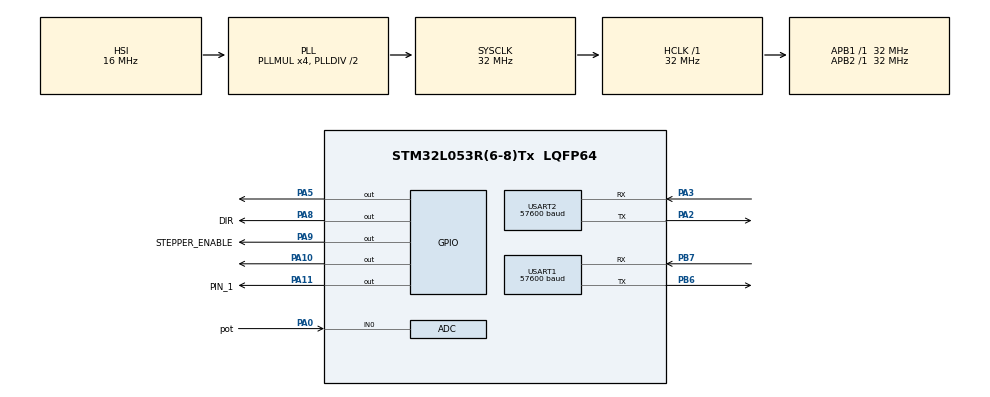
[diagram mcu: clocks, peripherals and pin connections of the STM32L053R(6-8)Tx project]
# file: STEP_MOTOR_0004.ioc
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ADC.ContinuousConvMode=ENABLE
ADC.Resolution=ADC_RESOLUTION_8B
ADC.SamplingTime=ADC_SAMPLETIME_39CYCLES_5
Mcu.Family=STM32L0
Mcu.Name=STM32L053R(6-8)Tx
Mcu.Package=LQFP64
NVIC.ADC1_COMP_IRQn=true\:0\:0\:false\:false\:true\:true\:true
NVIC.RCC_CRS_IRQn=true\:0\:0\:false\:false\:true\:true\:false
NVIC.TIM2_IRQn=true\:0\:0\:false\:false\:true\:true\:true
NVIC.USART1_IRQn=true\:0\:0\:false\:false\:true\:true\:true
NVIC.USART2_IRQn=true\:0\:0\:false\:false\:true\:true\:true
PA0.GPIO_Label=pot
PA0.Mode=IN0
PA0.Signal=ADC_IN0
PA10.Signal=GPIO_Output
PA11.GPIO_Label=PIN_1
PA11.GPIO_ModeDefaultOutputPP=GPIO_MODE_OUTPUT_PP
PA11.GPIO_PuPd=GPIO_PULLUP
PA11.GPIO_Speed=GPIO_SPEED_FREQ_VERY_HIGH
PA11.Signal=GPIO_Output
PA13.Mode=Serial_Wire
PA13.Signal=SYS_SWDIO
PA14.Mode=Serial_Wire
PA14.Signal=SYS_SWCLK
PA2.Mode=Asynchronous
PA2.Signal=USART2_TX
PA3.Mode=Asynchronous
PA3.Signal=USART2_RX
PA5.Signal=GPIO_Output
PA8.GPIO_Label=DIR
PA8.Signal=GPIO_Output
PA9.GPIO_Label=STEPPER_ENABLE
PA9.Signal=GPIO_Output
PB6.Mode=Asynchronous
PB6.Signal=USART1_TX
PB7.Mode=Asynchronous
PB7.Signal=USART1_RX
PH0-OSC_IN.Mode=HSE-External-Oscillator
PH0-OSC_IN.Signal=RCC_OSC_IN
PH1-OSC_OUT.Mode=HSE-External-Oscillator
PH1-OSC_OUT.Signal=RCC_OSC_OUT
ProjectManager.HeapSize=0x200
ProjectManager.StackSize=0x400
ProjectManager.TargetToolchain=TrueSTUDIO
RCC.AHBFreq_Value=32000000
RCC.APB1Freq_Value=32000000
RCC.APB1TimFreq_Value=32000000
RCC.APB2Freq_Value=32000000
RCC.APB2TimFreq_Value=32000000
RCC.HCLKFreq_Value=32000000
RCC.HSE_VALUE=8000000
RCC.HSI16_VALUE=16000000
RCC.HSI48_VALUE=48000000
RCC.HSI_VALUE=16000000
RCC.LSE_VALUE=32768
RCC.MSI_VALUE=2097000
RCC.PLLMUL=RCC_PLLMUL_4
RCC.SYSCLKFreq_VALUE=32000000
RCC.SYSCLKSource=RCC_SYSCLKSOURCE_PLLCLK
RCC.VCOOutputFreq_Value=64000000
TIM2.Period=399
TIM2.Prescaler=19
TIM2.TIM_MasterOutputTrigger=TIM_TRGO_UPDATE
USART1.BaudRate=57600
USART1.VirtualMode-Asynchronous=VM_ASYNC
USART2.BaudRate=57600
USART2.VirtualMode-Asynchronous=VM_ASYNC
VP_RTC_VS_RTC_Activate.Mode=RTC_Enabled
VP_TIM2_VS_ClockSourceINT.Mode=Internal
board=custom

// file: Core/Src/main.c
/* USER CODE BEGIN Header */
/**
  ******************************************************************************
  * @file           : main.c
  *
  *
  * @brief          : Main program body
  ******************************************************************************
  * @attention
  *
  * <h2><center>&copy; Copyright (c) 2021 STMicroelectronics.
  * All rights reserved.</center></h2>
  *
  * This software component is licensed by ST under BSD 3-Clause license,
  * the "License"; You may not use this file except in compliance with the
  * License. You may obtain a copy of the License at:
  *                        opensource.org/licenses/BSD-3-Clause
  *
  ******************************************************************************
  */
/* USER CODE END Header */
#include "main.h"

/* USER CODE BEGIN PTD */
/* USER CODE BEGIN PTD */
uint32_t pres;
uint32_t count;int duty_cycle = 0,GL_timer_1ms_flag=0,x=1,pulse_sayisi=0,tur_sayisi=0,Start_flag=0;
uint32_t i=0,sayi=0;
int baslangic_sure=0;
//int tur1,tur2,tur3,tur4;
int sayac=0;
int tur_sayisi_flag=0,Gl_step_degeri=800,GL_frekans_degeri;
uint8_t yon=0;

int saniye=1;
uint8_t  GL_timer_enable_flag = 0x01;

//**********uart degiskenleri**********
uint8_t myTxData[16]=";0000000000000\r\n";

//uint8_t myRxData[]="gelen_veri\r\n";

uint8_t myRxData[16]="eeeeeeeeeeeeeLee";

uint8_t paket_icindeki_data_arrayi[12]={59,59,59,59,59,59,59,59,59,59};

uint8_t myTx_sayac=0,myRx_sayac=0;
uint8_t rx_flag=0;
uint8_t Gl_step[5],Gl_tur[5],Gl_saniye[5],Gl_frekans[5];
uint8_t Gl_basla_flag=0,Gl_bekle_flag=0;
uint8_t Gl_sag_flag,Gl_sol_flag,Gl_adim_dondurme_flag;
uint8_t sag_flag=0;
uint8_t sol_flag=0;
uint8_t tam_flag=0;
uint8_t sifir,bir,iki,uc;
uint8_t anlik_emir_no;
uint8_t anlik_adim_sayisi;
uint8_t anlik_emir_tekrari;
int motor_is_yap_sayac=0;
//**excel***//////
uint8_t veri_alinamadi_flag=0;
/* USER CODE END PTD */
int motor_is_emir_tekrar_sayisi=0;
int motor_is_adim_sayisi=0;
int motor_is_bekleme_Suresi=0;
int motor_is_emir_no=0;

/* USER CODE BEGIN PM */
uint8_t son_paket_bulma(uint8_t paket12,uint8_t paket13);
/* USER CODE END PM */

ADC_HandleTypeDef hadc;

RTC_HandleTypeDef hrtc;

TIM_HandleTypeDef htim2;

UART_HandleTypeDef huart1;
UART_HandleTypeDef huart2;

/* USER CODE BEGIN PV */

  /* USER CODE BEGIN TIM2_IRQn 0 */

  /* USER CODE END TIM2_IRQn 0 */

  /* USER CODE BEGIN TIM2_IRQn 1 */

  /* USER CODE END TIM2_IRQn 1 */

/* USER CODE END PV */

void SystemClock_Config(void);
static void MX_GPIO_Init(void);
static void MX_TIM2_Init(void);
static void MX_RTC_Init(void);
static void MX_ADC_Init(void);
static void MX_USART2_UART_Init(void);
static void MX_USART1_UART_Init(void);
/* USER CODE BEGIN PFP */

typedef enum
{
	MOTOR_SAGA_DON,
	MOTOR_SOLA_DON
}motor_yonleri_t;

void stepper_initialize(unsigned int motor_yonu)
{
	HAL_GPIO_WritePin(GPIOA, STEPPER_ENABLE_Pin, GPIO_PIN_RESET);		// step motor enable aktif eder. lowa çekilmeli
	switch (motor_yonu)
	{
		case (unsigned int)MOTOR_SAGA_DON:
		{
			HAL_GPIO_WritePin(GPIOA, DIR_Pin, GPIO_PIN_RESET);
			break;
		}
		case (unsigned int)MOTOR_SOLA_DON:
		{
			HAL_GPIO_WritePin(GPIOA, DIR_Pin, GPIO_PIN_SET);
			break;
		}
		default:
		{
			HAL_GPIO_WritePin(GPIOA, DIR_Pin, GPIO_PIN_SET);
			break;
		}
	}
}

/* USER CODE END PFP */

/* USER CODE BEGIN 0 */

void timer2_start_stop(int donme_yon)
{

  HAL_TIM_Base_Stop_IT(&htim2);
  HAL_Delay(10);

  HAL_TIM_Base_Start_IT(&htim2);
  HAL_Delay(10);
  stepper_initialize(donme_yon);
}

int tur_hesapla(int pulse_sayisi,int step_adim)
{
	int tur_sayisi;
	tur_sayisi=pulse_sayisi/step_adim;
	return tur_sayisi;
}

uint8_t basladi_flag=0;
uint8_t bitti_flag=0;

#define SENKRON_BYTE 59
#define END_BYTE_L	13
#define END_BYTE_H	10
#define VERI_BOYUTU	16
#define PAKET_BOYUTU VERI_BOYUTU+4
typedef struct
{
	uint8_t senkron_byte;
	uint8_t index_no;
	uint8_t veri_bufferi[VERI_BOYUTU];
	uint8_t end_byte_l;
	uint8_t end_byte_h;
}paket_t;

void paket_parser()
{
	int yanlis_paket=0;

	for(int i=0; i<VERI_BOYUTU;i++)
	{
			if(myRxData[i]==SENKRON_BYTE)
			{
				basladi_flag=1;
				if(myRxData[VERI_BOYUTU-2]==END_BYTE_L && myRxData[VERI_BOYUTU-1]==END_BYTE_H)
				{
					bitti_flag=1;
					for(int i=0;i<12;i++)
					{
						paket_icindeki_data_arrayi[i] = myRxData[i+2];
					}

					port_acildi_paket();
					excel_paket();
					adim_dondurme_paket();
					acil_stop_paket();
					ayar_baslat_duraklat_bitir();

				}

			}
			else
			{
				yanlis_paket=1;
			}
	}
	basladi_flag=0;
	bitti_flag=0;
}

uint8_t baslangic_sayac=0;

uint8_t excel_emir_no_flag=0;
int excel_emir_no_sayac=0;
uint16_t excel_emir_sayisi;

char adim_dondurme_flag=0;
char adim_dondurme_sayac=0;

uint8_t acil_stop_flag=0;
uint8_t acil_stop_sayac=0;

uint8_t excel_adim_sayisi_array0=0;
uint8_t excel_adim_sayisi_array1=0;
uint16_t excel_adim_sayisi_array2=0;
uint16_t excel_adim_sayisi_array3=0;
uint16_t excel_emir_no0=0;
uint16_t excel_emir_no1=0;
int excel_bekleme_suresi0=0;
int excel_bekleme_suresi1=0;
int excel_emir_tekrar0=0;
int excel_emir_tekrar1=0;

uint8_t paketler_tamamlandi_flag=0;

//Dongulerdeki sifir sayisini hesaplar
int sifir_dongusu(int sifir_baslangic_degeri,int sifir_bitis_degeri)
{
	int Sifir_Sayac=0;;
	for(int i=sifir_baslangic_degeri;i<=sifir_bitis_degeri;i++)
	{
		if(myRxData[i]==48)
		{
			Sifir_Sayac++;
		}
	}

	return Sifir_Sayac;
}

//1.paket port acýldý paketi
void port_acildi_paket()
{
	if(myRxData[13]==49)
	{
		baslangic_sayac=sifir_dongusu(2,12);
		if(baslangic_sayac==11)
		{
			basladi_flag=son_paket_bulma(48,49);

			basladi_flag=0;
			buffer_temzileme();
			//my_tx_data_deger(49);

		}
	}

}

void my_tx_data_deger(int paket_index_no)
{

	myTxData[0]=59;
	myTxData[1]=paket_index_no;
	myTxData[12]=84;
	myTxData[13]=88;
	myTxData[14]=13;
	myTxData[15]=10;
	//HAL_UART_Transmit_IT(&huart2,&myTxData[0],16);

	/*if(myTxData[1]=!myRxData[1])
	{
		buffer_temzileme();
	}*/
}

void excel_my_tx_data_deger(int paket_emir_no)
{

	myTxData[0]=59;
	myTxData[1]=56;
	myTxData[2]=48;
	myTxData[3]=paket_emir_no;

	myTxData[12]=84;
	myTxData[13]=88;
	myTxData[14]=13;
	myTxData[15]=10;

	for(int i=0;i<6;i++)
	{
		HAL_UART_Transmit_IT(&huart2,&myTxData[0],16);
	}

	buffer_temzileme();
	/*if(myTxData[3]=!myRxData[3])
	{
		buffer_temzileme();
		HAL_Delay(500);
	}*/

}

void buffer_temzileme()
{
	for(int i=0;i<16;i++)
	{
		myRxData[i]=NULL;
		myTxData[i]=NULL;
	}

}

//8.paket excel paketi
int excel_adim_sayisi=0;
int excel_bekleme_suresi=0;
int excel_emir_tekrarr=0;
int excel_emir_noo=0;
int dizi_sayac=0;
int tum_data_excel_adim_sayisi=0;
int tum_data_excel_bekleme_suresi=0;
int tum_data_excel_emir_tekrar_Sayisi=0;

int excel_paket_array [24];
void excel_paket()
{

	excel_emir_no_flag=0;
	excel_adim_sayisi=0;
	excel_bekleme_suresi=0;
    excel_emir_tekrarr=0;
	excel_emir_noo=0;
	if(myRxData[1]==56)
	{
		if(myRxData[4]==69)//emir sayisi geldi(E)
		{
			excel_emir_sayisi=myRxData[6];
			myTxData[1]=56;
			myTxData[3]=excel_emir_sayisi;
			excel_my_tx_data_deger(excel_emir_sayisi);//transmit fonksiyonu

		}
		else if(myRxData[4]==48 )//Emir no boyutu paketi
		{
			   excel_emir_no_flag=sifir_dongusu(6,12);
			/*******************EMÝR SAYISI******************/
				//excel_emir_sayisi=myRxData[5]-48; //emir sayisi
				excel_emir_no0=myRxData[4]-48;
				excel_emir_no1=myRxData[5]-48;
				excel_emir_noo=excel_emir_no0+excel_emir_no1;
				/**************ADIM SAYISI********************/
				excel_adim_sayisi_array0=(myRxData[6]-48);
				excel_adim_sayisi_array1=(myRxData[7]-48);
				excel_adim_sayisi_array2=(myRxData[8]-48);
				excel_adim_sayisi_array3=(myRxData[9]-48);
				excel_adim_sayisi=((1000*excel_adim_sayisi_array0)+(excel_adim_sayisi_array1*100)+(excel_adim_sayisi_array2*10)+(excel_adim_sayisi_array3));
				//panel_adim_sayisi=excel_adim_sayisi;

				/*************BEKLEME SURESÝ******************/
				excel_bekleme_suresi0=10*(myRxData[10]-48);
				excel_bekleme_suresi1=(myRxData[11]-48);
				excel_bekleme_suresi=excel_bekleme_suresi0+excel_bekleme_suresi1;
				//panel_istenen_bekleme_suresi=excel_bekleme_suresi;

				/**************EMÝR TEKRAR*********************/
				excel_emir_tekrar0=10*(myRxData[12]-48);
				excel_emir_tekrar1=(myRxData[13]-48);
				excel_emir_tekrarr=excel_emir_tekrar0+excel_emir_tekrar1;

                 //GELEN VERÝLERÝ UC UCA EKLEME
				if(excel_emir_no_sayac==excel_emir_noo-1)
				{
					excel_paket_array[dizi_sayac]=excel_emir_noo;
					excel_paket_array[dizi_sayac+1]=excel_adim_sayisi;
					excel_paket_array[dizi_sayac+2]=excel_bekleme_suresi;
					excel_paket_array[dizi_sayac+3]=excel_emir_tekrarr;
					dizi_sayac=dizi_sayac+4;
					excel_emir_no_sayac++;
					myTxData[1]=56;
					myTxData[3]=excel_emir_noo+48;
				    motor_is_yap_sayac+=4;
				}

				//excel_my_tx_data_deger(myRxData[5]);
				if(dizi_sayac==excel_emir_sayisi*4)
				{
					motor_is_yap_sayac=0;
					dizi_sayac=0;

				}

				if(excel_emir_noo!=48 && excel_adim_sayisi!=48 && excel_bekleme_suresi!=48)
				{
					excel_my_tx_data_deger(excel_emir_noo+48);//transmit fonksiyonu
				}

		}

	}
}

int GL_islem_baslat=0;
int GL_islem_duraklat=0;
int GL_islem_bitir=0;
int GL_satir_sayisi=0;
int GL_bekleme_suresi=0;
int GL_emir_tekrari=0;
int ayar_baslat_duraklat_bitir_Sayac=0;
//gonderilen degiskenlerin esitligini kontrol eder

uint8_t son_paket_bulma(uint8_t paket12,uint8_t paket13)
{
	uint8_t flag=0;

	if(myRxData[12]==paket12 && myRxData[13]==paket13)
	{
		flag=1;

	}
	else
	{
		flag=0;
	}
	return flag;

}

//ayar baslat duraklat ve bitir butonlarýndan gelen bilgileri kontrol eder
void ayar_baslat_duraklat_bitir()
{
	if(myRxData[1]==54)
	{
		ayar_baslat_duraklat_bitir_Sayac=sifir_dongusu(2,10);
		if(ayar_baslat_duraklat_bitir_Sayac==11)
		{
			GL_islem_baslat=son_paket_bulma(65,66);
			GL_islem_duraklat=son_paket_bulma(65,80);
			GL_islem_bitir=son_paket_bulma(65,70);
		}

	}
}

void acil_stop_paket()
{

	if(myRxData[1]==55)
	{
		if(myRxData[13]==65)
		{

			acil_stop_sayac=sifir_dongusu(2,12);
			if(acil_stop_sayac==11)
			{
				acil_stop_flag=son_paket_bulma(65,83);

			}
		}
	}
}

void adim_dondurme_paket()
{
	//Saga Dondurme
	if(myRxData[1]==57)//9.paket
	{
		adim_dondurme_flag=sifir_dongusu(2,12);
		if(adim_dondurme_flag==11)
		{
			sag_flag=son_paket_bulma(48,82);
			sol_flag=son_paket_bulma(48,76);
			tam_flag=son_paket_bulma(48,84);
			if(sag_flag==1)
			{
			   stepper_initialize(MOTOR_SAGA_DON);
			}

			else if(sol_flag==1)
			 {
			    stepper_initialize(MOTOR_SOLA_DON);
			 }
			 else if(tam_flag==1)
			 {
				 stepper_initialize(MOTOR_SAGA_DON);
			  }

			 else
			 {
				veri_alinamadi_flag=1;

			 }

		}

	}
}

uint8_t anlik_emir_tekrar_sayisi;
uint8_t sonraki_pakete_gec_flag=0;
uint8_t GL_istenen_tur_sayisi=0;
uint8_t ayar_baslat_flag=0;
int excel_emir_no[];
uint8_t excel_adim_sayisi_array[];
int excel_emir_tekrar[];
void anlik_paketler()
{
	if(GL_islem_baslat==1)
	{
		for(int i=0;i<=excel_emir_sayisi;i++)
		{
			if(anlik_emir_no==excel_emir_no[i])
			{
				if(pulse_sayisi==excel_adim_sayisi_array[i])
				{
					if(anlik_emir_tekrar_sayisi==excel_emir_tekrar[i])
					{
						sonraki_pakete_gec_flag=1;
					}
					else
					{
						GL_emir_tekrari=excel_emir_tekrar[i]-anlik_emir_tekrari;
					}
				}
				else
				{
					GL_istenen_tur_sayisi=excel_adim_sayisi_array[i]-pulse_sayisi;
				}

			}
			else
			{
				ayar_baslat_flag=1;
			}
		}
	}

}

uint8_t bir,iki,uc,dort,bes,alti,yedi,sekiz;
uint8_t kontrol_flag=0;
uint8_t toplam;
int motor_istenen_adim_sayisi=2;
/*void array_kontrol_func()
{
	sag_flag=0;
	sol_flag=0;
	tam_flag=0;
	uint8_t sifir_sayac=0;

	    for(int i=0;i<3;i++)
	    {
	    	if(paket_icindeki_data_arrayi[i]==48)
	    	{
	    		sifir_sayac=sifir_sayac+1;
	    	}

	    }

	    if(sifir_sayac==3)
	    {
	    	if(paket_icindeki_data_arrayi[3]==84)
	    	{
	    		sag_flag=1;
	    		motor_istenen_adim_sayisi=2;
	    		stepper_initialize(MOTOR_SAGA_DON);
	    	}
	    	if(paket_icindeki_data_arrayi[3]==82)
	    	{
	    		 sol_flag=1;
	    		 motor_istenen_adim_sayisi=3;
	    		 stepper_initialize(MOTOR_SOLA_DON);
	    	}
	    	if(paket_icindeki_data_arrayi[3]==76)
	    	{
	    		tam_flag=1;
	    		motor_istenen_adim_sayisi=4;
	    		stepper_initialize(MOTOR_SAGA_DON);
	    	}
	    }
}
*/
uint8_t motor_dur_flag=0;
int GL_istenen_bekleme_suresi_ms =20;
int panel_adim_sayisi=3200;
int panel_istenen_bekleme_suresi=500;

void HAL_TIM_PeriodElapsedCallback(TIM_HandleTypeDef *htim)
{
	if(htim==&htim2)
		{
			if(GL_timer_enable_flag)
			{
				//tur_sayisi=tur_hesapla(pulse_sayisi,800);

				HAL_GPIO_WritePin(GPIOA, STEPPER_ENABLE_Pin, GPIO_PIN_RESET);
				if(GL_timer_1ms_flag ==0)
				{
                    GL_timer_1ms_flag = 1;
					HAL_GPIO_WritePin(GPIOA, PIN_1_Pin,GPIO_PIN_SET);
				}
				else if(GL_timer_1ms_flag ==1)
				{
					GL_timer_1ms_flag = 0;
					pulse_sayisi++;
					HAL_GPIO_WritePin(GPIOA, PIN_1_Pin, GPIO_PIN_RESET);

					if(pulse_sayisi>=panel_adim_sayisi)
					{
						//HAL_Delay(panel_istenen_bekleme_suresi);
						tur_sayisi++;
						pulse_sayisi =0;

					}

					if(tur_sayisi>=panel_adim_sayisi/3200)
					{
						GL_timer_enable_flag =0;

						tur_sayisi=0;
						motor_dur_flag=0;
						GL_emir_tekrari++;
					}

				}
			}
		}
}

void HAL_UART_RxCpltCallback(UART_HandleTypeDef *UartHandle)
{
	HAL_UART_Receive_IT(&huart2,&myRxData[0],16);

}

uint8_t GL_motor_is_yapmaya_basladi_flag  =0;
uint8_t motor_is_yap(int istenen_tur_sayisi, int istenen_bekleme_suresi_ms)
{
	if(GL_motor_is_yapmaya_basladi_flag == 0)
	{
		GL_istenen_tur_sayisi = istenen_tur_sayisi;
		GL_istenen_bekleme_suresi_ms = istenen_bekleme_suresi_ms;
		GL_timer_enable_flag = 1;
		GL_motor_is_yapmaya_basladi_flag = 1;
		return  0;
	}
	if((GL_motor_is_yapmaya_basladi_flag==1)&&(!GL_timer_enable_flag))
	{
		HAL_Delay(GL_istenen_bekleme_suresi_ms);
		GL_motor_is_yapmaya_basladi_flag = 0;
		return 1;
	}
	else
	{
		return 0;
	}
}
/* USER CODE END 0 */

uint8_t buffer_index=0;
int emir_no_flag=0;
int main(void)
{

  /* USER CODE BEGIN 1 */
	//logic and if needed
  /* USER CODE END 1 */
  /* MCU Configuration--------------------------------------------------------*/
  /* Reset of all peripherals, Initializes the Flash interface and the Systick. */
  HAL_Init();
  /* Configure the system clock */
  SystemClock_Config();

  /* Initializ all configured peripherals */
  MX_GPIO_Init();
  MX_TIM2_Init();
  MX_RTC_Init();
  MX_ADC_Init();
  MX_USART2_UART_Init();
  MX_USART1_UART_Init();

  /* Infinite loop */
  /* USER CODE BEGIN WHILE */
 // int motor_istenen_tur_sayisi = 1;

  HAL_TIM_Base_Start_IT(&htim2);
  int motor_istenen_bekleme_suresi_ms;
  __HAL_UART_ENABLE_IT(&huart2,UART_IT_RXNE);

  while (1)
  {
	  HAL_UART_Receive_IT(&huart2,&myRxData[0],16);
	  paket_parser();
	  if(GL_islem_baslat==1)
	  {
		  motor_is_emir_tekrar_sayisi=excel_paket_array[motor_is_yap_sayac-1];
		  motor_is_emir_no=excel_paket_array[motor_is_yap_sayac-4];
		  motor_is_adim_sayisi=excel_paket_array[motor_is_yap_sayac-3];
		  motor_is_bekleme_Suresi=excel_paket_array[motor_is_yap_sayac-2];
		  motor_is_yap(motor_istenen_adim_sayisi,motor_is_bekleme_Suresi);

	  }

	  		   buffer_index++;
    /* USER CODE END WHILE */
  }
}

void SystemClock_Config(void)
{
  RCC_OscInitTypeDef RCC_OscInitStruct = {0};
  RCC_ClkInitTypeDef RCC_ClkInitStruct = {0};
  RCC_PeriphCLKInitTypeDef PeriphClkInit = {0};

  /** Configure the main internal regulator output voltage
  */
  __HAL_PWR_VOLTAGESCALING_CONFIG(PWR_REGULATOR_VOLTAGE_SCALE1);
  /** Initializes the RCC Oscillators according to the specified parameters
  * in the RCC_OscInitTypeDef structure.
  */
  RCC_OscInitStruct.OscillatorType = RCC_OSCILLATORTYPE_HSI|RCC_OSCILLATORTYPE_LSI;
  RCC_OscInitStruct.HSIState = RCC_HSI_ON;
  RCC_OscInitStruct.HSICalibrationValue = RCC_HSICALIBRATION_DEFAULT;
  RCC_OscInitStruct.LSIState = RCC_LSI_ON;
  RCC_OscInitStruct.PLL.PLLState = RCC_PLL_ON;
  RCC_OscInitStruct.PLL.PLLSource = RCC_PLLSOURCE_HSI;
  RCC_OscInitStruct.PLL.PLLMUL = RCC_PLLMUL_4;
  RCC_OscInitStruct.PLL.PLLDIV = RCC_PLLDIV_2;
  if (HAL_RCC_OscConfig(&RCC_OscInitStruct) != HAL_OK)
  {
    Error_Handler();
  }
  /** Initializes the CPU, AHB and APB buses clocks
  */
  RCC_ClkInitStruct.ClockType = RCC_CLOCKTYPE_HCLK|RCC_CLOCKTYPE_SYSCLK
                              |RCC_CLOCKTYPE_PCLK1|RCC_CLOCKTYPE_PCLK2;
  RCC_ClkInitStruct.SYSCLKSource = RCC_SYSCLKSOURCE_PLLCLK;
  RCC_ClkInitStruct.AHBCLKDivider = RCC_SYSCLK_DIV1;
  RCC_ClkInitStruct.APB1CLKDivider = RCC_HCLK_DIV1;
  RCC_ClkInitStruct.APB2CLKDivider = RCC_HCLK_DIV1;

  if (HAL_RCC_ClockConfig(&RCC_ClkInitStruct, FLASH_LATENCY_1) != HAL_OK)
  {
    Error_Handler();
  }
  PeriphClkInit.PeriphClockSelection = RCC_PERIPHCLK_USART1|RCC_PERIPHCLK_USART2
                              |RCC_PERIPHCLK_RTC;
  PeriphClkInit.Usart1ClockSelection = RCC_USART1CLKSOURCE_PCLK2;
  PeriphClkInit.Usart2ClockSelection = RCC_USART2CLKSOURCE_PCLK1;
  PeriphClkInit.RTCClockSelection = RCC_RTCCLKSOURCE_LSI;
  if (HAL_RCCEx_PeriphCLKConfig(&PeriphClkInit) != HAL_OK)
  {
    Error_Handler();
  }
}

static void MX_ADC_Init(void)
{

  ADC_ChannelConfTypeDef sConfig = {0};

  /** Configure the global features of the ADC (Clock, Resolution, Data Alignment and number of conversion)
  */
  hadc.Instance = ADC1;
  hadc.Init.OversamplingMode = DISABLE;
  hadc.Init.ClockPrescaler = ADC_CLOCK_SYNC_PCLK_DIV2;
  hadc.Init.Resolution = ADC_RESOLUTION_8B;
  hadc.Init.SamplingTime = ADC_SAMPLETIME_39CYCLES_5;
  hadc.Init.ScanConvMode = ADC_SCAN_DIRECTION_FORWARD;
  hadc.Init.DataAlign = ADC_DATAALIGN_RIGHT;
  hadc.Init.ContinuousConvMode = ENABLE;
  hadc.Init.DiscontinuousConvMode = DISABLE;
  hadc.Init.ExternalTrigConvEdge = ADC_EXTERNALTRIGCONVEDGE_NONE;
  hadc.Init.ExternalTrigConv = ADC_SOFTWARE_START;
  hadc.Init.DMAContinuousRequests = DISABLE;
  hadc.Init.EOCSelection = ADC_EOC_SINGLE_CONV;
  hadc.Init.Overrun = ADC_OVR_DATA_PRESERVED;
  hadc.Init.LowPowerAutoWait = DISABLE;
  hadc.Init.LowPowerFrequencyMode = DISABLE;
  hadc.Init.LowPowerAutoPowerOff = DISABLE;
  if (HAL_ADC_Init(&hadc) != HAL_OK)
  {
    Error_Handler();
  }
  /** Configure for the selected ADC regular channel to be converted.
  */
  sConfig.Channel = ADC_CHANNEL_0;
  sConfig.Rank = ADC_RANK_CHANNEL_NUMBER;
  if (HAL_ADC_ConfigChannel(&hadc, &sConfig) != HAL_OK)
  {
    Error_Handler();
  }

}

static void MX_RTC_Init(void)
{

  /** Initialize RTC Only
  */
  hrtc.Instance = RTC;
  hrtc.Init.HourFormat = RTC_HOURFORMAT_24;
  hrtc.Init.AsynchPrediv = 127;
  hrtc.Init.SynchPrediv = 255;
  hrtc.Init.OutPut = RTC_OUTPUT_DISABLE;
  hrtc.Init.OutPutRemap = RTC_OUTPUT_REMAP_NONE;
  hrtc.Init.OutPutPolarity = RTC_OUTPUT_POLARITY_HIGH;
  hrtc.Init.OutPutType = RTC_OUTPUT_TYPE_OPENDRAIN;
  if (HAL_RTC_Init(&hrtc) != HAL_OK)
  {
    Error_Handler();
  }

}

static void MX_TIM2_Init(void)
{

  TIM_ClockConfigTypeDef sClockSourceConfig = {0};
  TIM_MasterConfigTypeDef sMasterConfig = {0};

  htim2.Instance = TIM2;
  htim2.Init.Prescaler = 19;
  htim2.Init.CounterMode = TIM_COUNTERMODE_UP;
  htim2.Init.Period = 399;
  htim2.Init.ClockDivision = TIM_CLOCKDIVISION_DIV1;
  htim2.Init.AutoReloadPreload = TIM_AUTORELOAD_PRELOAD_DISABLE;
  if (HAL_TIM_Base_Init(&htim2) != HAL_OK)
  {
    Error_Handler();
  }
  sClockSourceConfig.ClockSource = TIM_CLOCKSOURCE_INTERNAL;
  if (HAL_TIM_ConfigClockSource(&htim2, &sClockSourceConfig) != HAL_OK)
  {
    Error_Handler();
  }
  sMasterConfig.MasterOutputTrigger = TIM_TRGO_UPDATE;
  sMasterConfig.MasterSlaveMode = TIM_MASTERSLAVEMODE_DISABLE;
  if (HAL_TIMEx_MasterConfigSynchronization(&htim2, &sMasterConfig) != HAL_OK)
  {
    Error_Handler();
  }

}

static void MX_USART1_UART_Init(void)
{

  huart1.Instance = USART1;
  huart1.Init.BaudRate = 57600;
  huart1.Init.WordLength = UART_WORDLENGTH_8B;
  huart1.Init.StopBits = UART_STOPBITS_1;
  huart1.Init.Parity = UART_PARITY_NONE;
  huart1.Init.Mode = UART_MODE_TX_RX;
  huart1.Init.HwFlowCtl = UART_HWCONTROL_NONE;
  huart1.Init.OverSampling = UART_OVERSAMPLING_16;
  huart1.Init.OneBitSampling = UART_ONE_BIT_SAMPLE_DISABLE;
  huart1.AdvancedInit.AdvFeatureInit = UART_ADVFEATURE_NO_INIT;
  if (HAL_UART_Init(&huart1) != HAL_OK)
  {
    Error_Handler();
  }

}

static void MX_USART2_UART_Init(void)
{

  huart2.Instance = USART2;
  huart2.Init.BaudRate = 57600;
  huart2.Init.WordLength = UART_WORDLENGTH_8B;
  huart2.Init.StopBits = UART_STOPBITS_1;
  huart2.Init.Parity = UART_PARITY_NONE;
  huart2.Init.Mode = UART_MODE_TX_RX;
  huart2.Init.HwFlowCtl = UART_HWCONTROL_NONE;
  huart2.Init.OverSampling = UART_OVERSAMPLING_16;
  huart2.Init.OneBitSampling = UART_ONE_BIT_SAMPLE_DISABLE;
  huart2.AdvancedInit.AdvFeatureInit = UART_ADVFEATURE_NO_INIT;
  if (HAL_UART_Init(&huart2) != HAL_OK)
  {
    Error_Handler();
  }

}

static void MX_GPIO_Init(void)
{
  GPIO_InitTypeDef GPIO_InitStruct = {0};

  /* GPIO Ports Clock Enable */
  __HAL_RCC_GPIOH_CLK_ENABLE();
  __HAL_RCC_GPIOA_CLK_ENABLE();
  __HAL_RCC_GPIOB_CLK_ENABLE();

  /*Configure GPIO pin Output Level */
  HAL_GPIO_WritePin(GPIOA, GPIO_PIN_5|DIR_Pin|STEPPER_ENABLE_Pin|GPIO_PIN_10
                          |PIN_1_Pin, GPIO_PIN_RESET);

  /*Configure GPIO pins : PA5 DIR_Pin STEPPER_ENABLE_Pin PA10 */
  GPIO_InitStruct.Pin = GPIO_PIN_5|DIR_Pin|STEPPER_ENABLE_Pin|GPIO_PIN_10;
  GPIO_InitStruct.Mode = GPIO_MODE_OUTPUT_PP;
  GPIO_InitStruct.Pull = GPIO_NOPULL;
  GPIO_InitStruct.Speed = GPIO_SPEED_FREQ_LOW;
  HAL_GPIO_Init(GPIOA, &GPIO_InitStruct);

  /*Configure GPIO pin : PIN_1_Pin */
  GPIO_InitStruct.Pin = PIN_1_Pin;
  GPIO_InitStruct.Mode = GPIO_MODE_OUTPUT_PP;
  GPIO_InitStruct.Pull = GPIO_PULLUP;
  GPIO_InitStruct.Speed = GPIO_SPEED_FREQ_VERY_HIGH;
  HAL_GPIO_Init(PIN_1_GPIO_Port, &GPIO_InitStruct);

}

/* USER CODE BEGIN 4 */
////UART FONKSÝYONLARI//////////

/* USER CODE END 4 */

void Error_Handler(void)
{
  __disable_irq();
  while (1)
  {
  }
}

/************************ (C) COPYRIGHT STMicroelectronics *****END OF FILE****/
